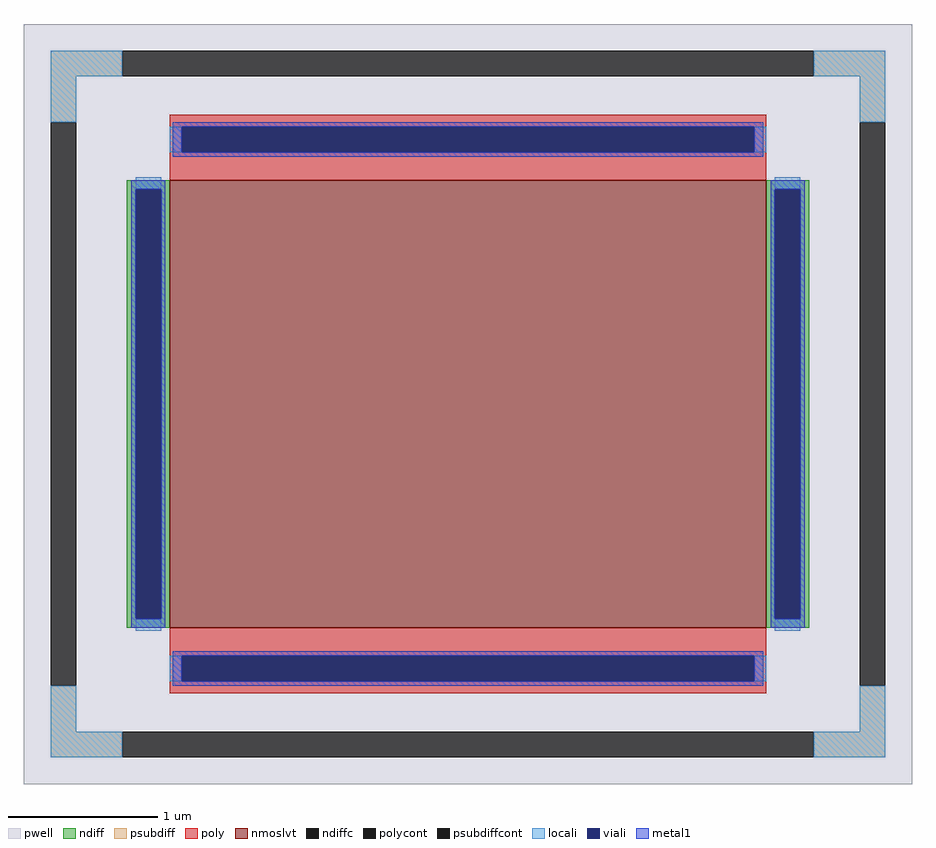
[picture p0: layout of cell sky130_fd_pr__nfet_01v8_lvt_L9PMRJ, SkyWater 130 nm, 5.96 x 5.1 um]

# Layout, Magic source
magic
tech sky130A
<< pwell >>
rect -298 -255 298 255
<< nmoslvt >>
rect -200 -150 200 150
<< ndiff >>
rect -229 144 -200 150
rect -229 -144 -223 144
rect -206 -144 -200 144
rect -229 -150 -200 -144
rect 200 144 229 150
rect 200 -144 206 144
rect 223 -144 229 144
rect 200 -150 229 -144
<< ndiffc >>
rect -223 -144 -206 144
rect 206 -144 223 144
<< psubdiff >>
rect -280 220 -232 237
rect 232 220 280 237
rect -280 189 -263 220
rect 263 189 280 220
rect -280 -220 -263 -189
rect 263 -220 280 -189
rect -280 -237 -232 -220
rect 232 -237 280 -220
<< psubdiffcont >>
rect -232 220 232 237
rect -280 -189 -263 189
rect 263 -189 280 189
rect -232 -237 232 -220
<< poly >>
rect -200 186 200 194
rect -200 169 -192 186
rect 192 169 200 186
rect -200 150 200 169
rect -200 -169 200 -150
rect -200 -186 -192 -169
rect 192 -186 200 -169
rect -200 -194 200 -186
<< polycont >>
rect -192 169 192 186
rect -192 -186 192 -169
<< locali >>
rect -280 220 -232 237
rect 232 220 280 237
rect -280 189 -263 220
rect 263 189 280 220
rect -200 169 -192 186
rect 192 169 200 186
rect -223 144 -206 152
rect -223 -152 -206 -144
rect 206 144 223 152
rect 206 -152 223 -144
rect -200 -186 -192 -169
rect 192 -186 200 -169
rect -280 -220 -263 -189
rect 263 -220 280 -189
rect -280 -237 -232 -220
rect 232 -237 280 -220
<< viali >>
rect -192 169 192 186
rect -223 -144 -206 144
rect 206 -144 223 144
rect -192 -186 192 -169
<< metal1 >>
rect -198 186 198 189
rect -198 169 -192 186
rect 192 169 198 186
rect -198 166 198 169
rect -226 144 -203 150
rect -226 -144 -223 144
rect -206 -144 -203 144
rect -226 -150 -203 -144
rect 203 144 226 150
rect 203 -144 206 144
rect 223 -144 226 144
rect 203 -150 226 -144
rect -198 -169 198 -166
rect -198 -186 -192 -169
rect 192 -186 198 -169
rect -198 -189 198 -186
<< properties >>
string FIXED_BBOX -271 -228 271 228
string gencell sky130_fd_pr__nfet_01v8_lvt
string library sky130
string parameters w 3.0 l 4.0 m 1 nf 1 diffcov 100 polycov 100 guard 1 glc 1 grc 1 gtc 1 gbc 1 tbcov 100 rlcov 100 topc 1 botc 1 poverlap 0 doverlap 1 lmin 0.15 wmin 0.42 compatible {sky130_fd_pr__nfet_01v8 sky130_fd_pr__nfet_01v8_lvt  sky130_fd_bs_flash__special_sonosfet_star  sky130_fd_pr__nfet_g5v0d10v5 sky130_fd_pr__nfet_05v0_nvt  sky130_fd_pr__nfet_03v3_nvt} full_metal 1 viasrc 100 viadrn 100 viagate 100 viagb 0 viagr 0 viagl 0 viagt 0
<< end >>
